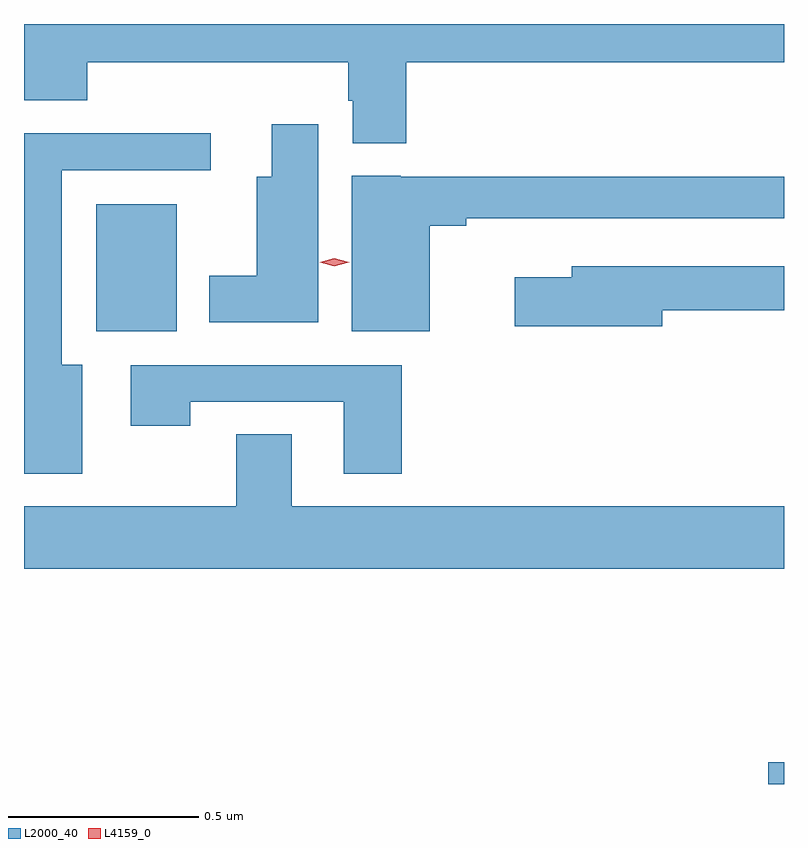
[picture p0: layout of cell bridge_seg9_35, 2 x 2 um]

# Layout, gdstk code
import gdstk
lib = gdstk.Library(unit=1e-6, precision=1e-09)
def R(c, l, rs):  # rectangles x0, y0, x1, y1
    for r in rs: c.add(gdstk.rectangle(r[:2], r[2:], *l))
def P(c, l, *ps):  # polygons
    for p in ps: c.add(gdstk.Polygon(p, *l))
L2000_40 = (2000, 40)
L4159_0 = (4159, 0)

bridge_seg9_35 = lib.new_cell('bridge_seg9_35')
R(bridge_seg9_35, L2000_40, [(985.626,1221.161,985.668,1221.218), (983.858,1222.352,984.07,1222.687)])
P(bridge_seg9_35, L2000_40, [(984.674,1223.06),(985.668,1223.06),(985.668,1223.161),(983.668,1223.161),(983.668,1223.06),(983.669,1223.06),(983.669,1222.961),(983.834,1222.961),(983.834,1223.06),(984.521,1223.06),(984.521,1222.959),(984.533,1222.959),(984.533,1222.847),(984.674,1222.847)],
  [(984.442,1222.897),(984.32,1222.897),(984.32,1222.759),(984.281,1222.759),(984.281,1222.498),(984.155,1222.498),(984.155,1222.376),(984.442,1222.376)],
  [(983.821,1222.264),(983.767,1222.264),(983.767,1222.776),(984.16,1222.776),(984.16,1222.874),(983.668,1222.874),(983.668,1221.978),(983.821,1221.978)],
  [(984.736,1222.63),(984.832,1222.63),(984.832,1222.65),(985.668,1222.65),(985.668,1222.759),(984.66,1222.759),(984.66,1222.762),(984.53,1222.762),(984.53,1222.352),(984.736,1222.352)],
  [(985.348,1222.408),(985.668,1222.408),(985.668,1222.524),(985.109,1222.524),(985.109,1222.495),(984.96,1222.495),(984.96,1222.366),(985.348,1222.366)],
  [(984.662,1222.263),(983.949,1222.263),(983.949,1222.104),(984.105,1222.104),(984.105,1222.167),(984.509,1222.167),(984.509,1221.978),(984.662,1221.978)],
  [(985.668,1221.892),(984.373,1221.892),(984.373,1222.082),(984.226,1222.082),(984.226,1221.892),(983.668,1221.892),(983.668,1221.728),(985.668,1221.728)])
P(bridge_seg9_35, L4159_0, [(984.485,1222.524),(984.446,1222.534),(984.446,1222.534),(984.446,1222.534),(984.485,1222.544),(984.524,1222.534),(984.524,1222.534),(984.524,1222.534)])

lib.write_gds('bridge_seg9_35.gds')
